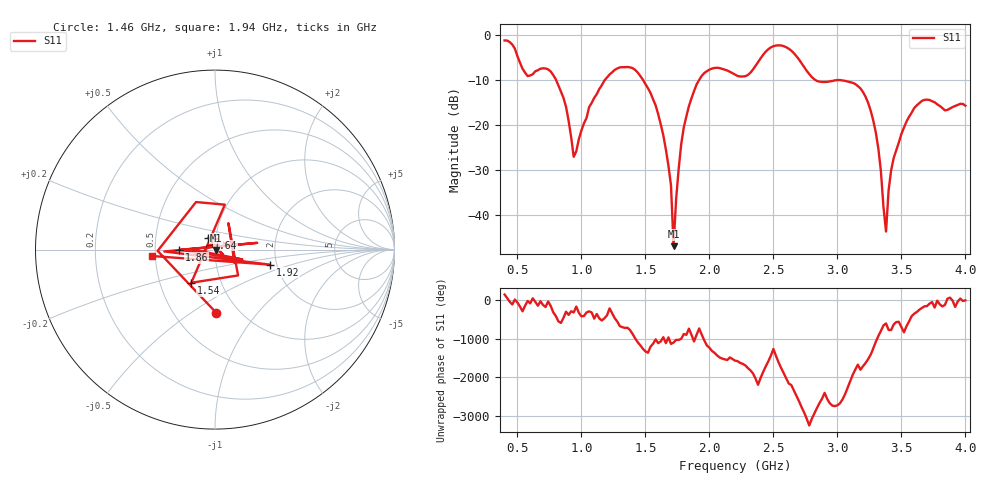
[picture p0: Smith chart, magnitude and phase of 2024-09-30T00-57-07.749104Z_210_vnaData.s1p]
!Created with skrf (http://scikit-rf.org).
# Hz S RI R 50.0
!freq ReS11 ImS11
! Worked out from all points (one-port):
!   181 points, 400 MHz to 4 GHz, reference 50 ohm
!   lowest |S11| = -47.0 dB at 1.72 GHz (marker M1), VSWR 1.01, Z = 50.4 - j0.145 ohm
!   |S11| at or under -10 dB: 802.5 MHz to 1.183 GHz (380.3 MHz wide, 38.3 % of centre); 1.482 GHz to 1.919 GHz (437.4 MHz wide, 25.7 % of centre); 3.021 GHz to end of sweep (the widest 3 of 4)
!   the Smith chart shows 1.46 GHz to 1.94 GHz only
!   S11 on the Smith chart (normalised r, x): 1.46 GHz: 0.79, -0.63; 1.54 GHz: 0.72, -0.28; 1.64 GHz: 0.92, +0.12; 1.86 GHz: 0.67, -0.00; 1.92 GHz: 1.84, -0.34; 1.94 GHz: 0.48, -0.04
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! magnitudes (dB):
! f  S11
! 400 MHz  -1.2
! 580 MHz  -9.1
! 760 MHz  -8.1
! 860 MHz  -14.0
! 940 MHz  -27.1
! 1.06 GHz  -16.0
! 1.3 GHz  -7.2
! 1.46 GHz  -9.1
! 1.54 GHz  -12.9
! 1.64 GHz  -22.3
! 1.7 GHz  -33.4
! 1.72 GHz  -47.0
! 1.76 GHz  -29.7
! 1.86 GHz  -14.1
! 1.92 GHz  -10.0
! 1.94 GHz  -9.1
! 2.2 GHz  -8.8
! 2.5 GHz  -2.5
! 2.66 GHz  -4.0
! 2.84 GHz  -10.2
! 3.1 GHz  -10.5
! 3.28 GHz  -19.0
! 3.32 GHz  -25.2
! 3.38 GHz  -43.7
! 3.42 GHz  -30.0
! 3.56 GHz  -18.2
! 3.68 GHz  -14.4
! 4 GHz  -15.7
